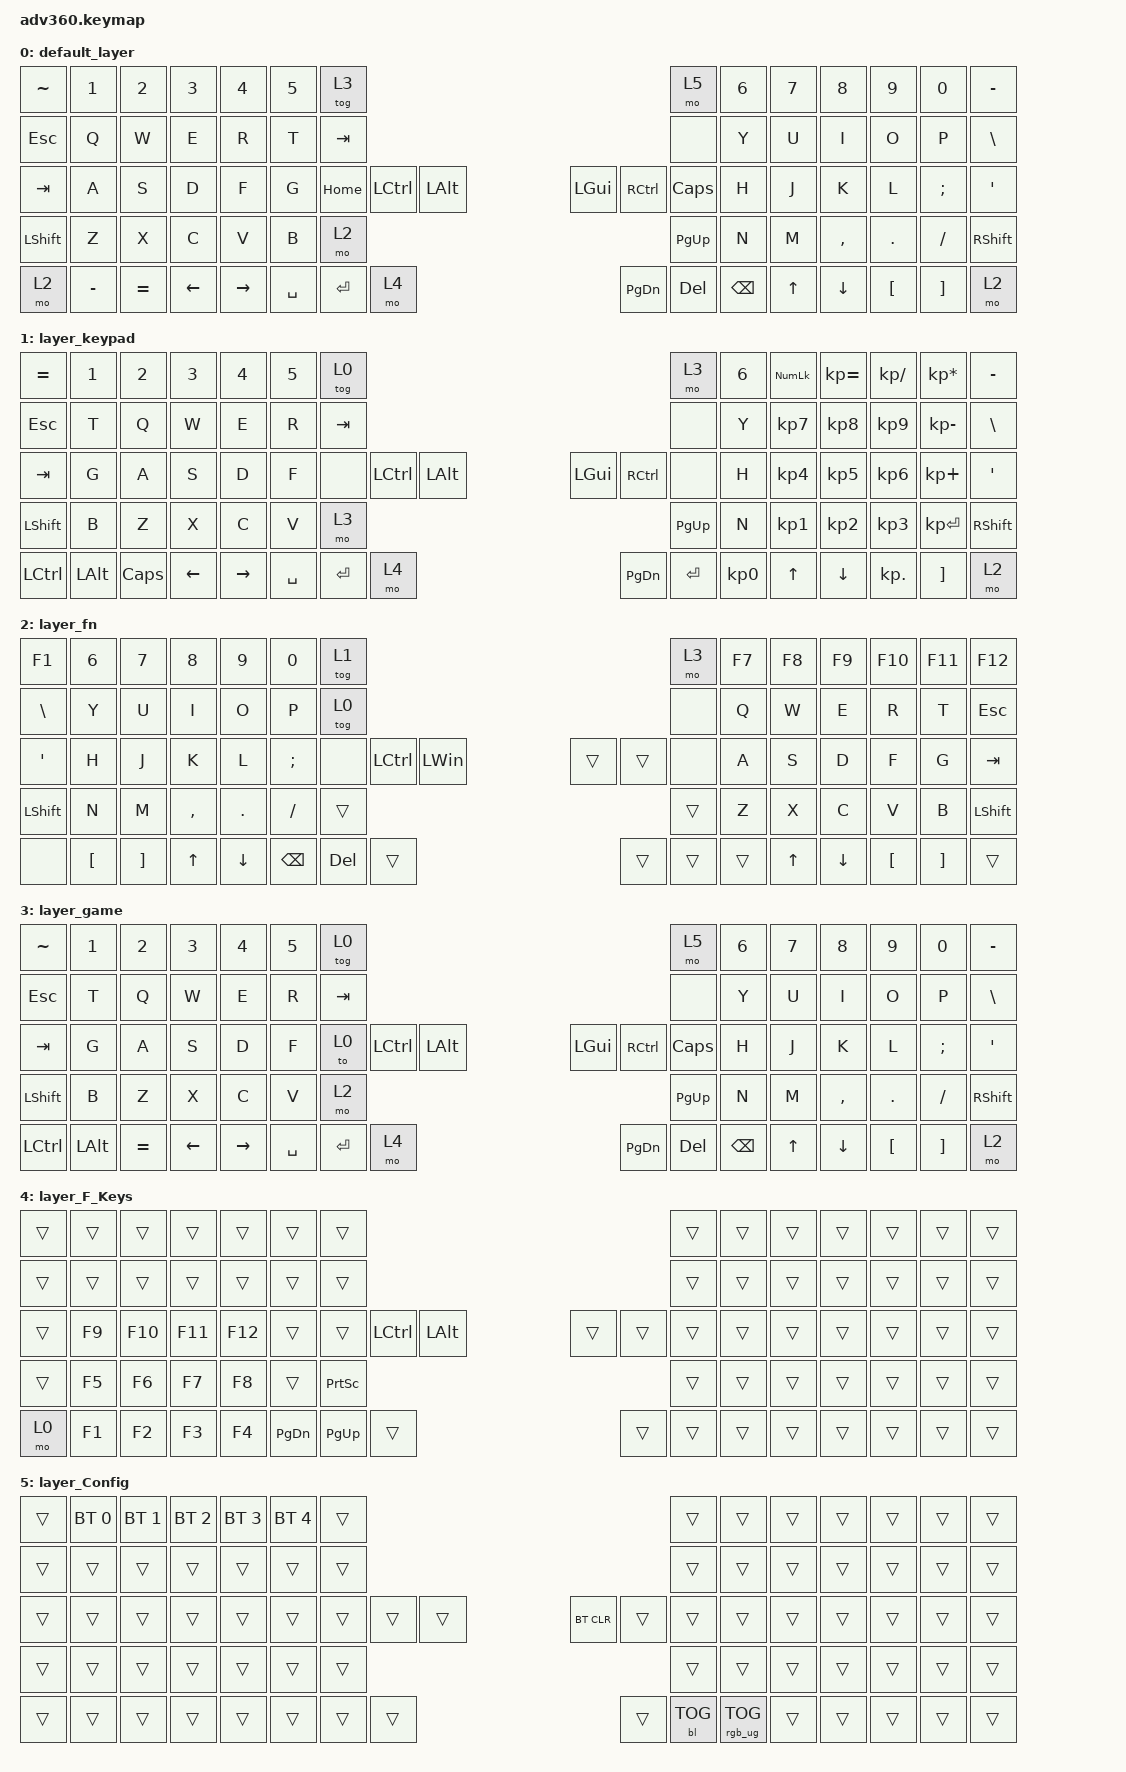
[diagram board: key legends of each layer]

/*
 * Copyright (c) 2020 The ZMK Contributors
 *
 * SPDX-License-Identifier: MIT
 */


/* THIS FILE WAS GENERATED!
 *
 * This file was generated automatically. You may or may not want to
 * edit it directly.
 */

#include <behaviors.dtsi>
#include <dt-bindings/zmk/keys.h>
#include <dt-bindings/zmk/bt.h>
#include <dt-bindings/zmk/backlight.h>
#include <dt-bindings/zmk/rgb.h>

/ {
  behaviors {
    #include "macros.dtsi"
    #include "version.dtsi"

    hm: homerow_mods {
        compatible = "zmk,behavior-hold-tap";
        label = "HOMEROW_MODS";
        #binding-cells = <2>;
        tapping-term-ms = <200>;
        quick_tap_ms = <175>;
        flavor = "tap-preferred";
        bindings = <&kp>, <&kp>;
    };
  };

    keymap {
        compatible = "zmk,keymap";


        default_layer {
            bindings = <
  &kp TILDE     &kp N1     &kp N2    &kp N3     &kp N4  &kp N5               &tog 3                                                                      &mo 5  &kp N6  &kp N7     &kp N8    &kp N9    &kp N0  &kp MINUS
 &kp ESCAPE      &kp Q      &kp W     &kp E      &kp R   &kp T              &kp TAB                                                                      &none   &kp Y   &kp U      &kp I     &kp O     &kp P   &kp BSLH
    &kp TAB      &kp A      &kp S     &kp D      &kp F   &kp G             &kp HOME  &kp LCTRL  &kp LALT                   &kp LGUI   &kp RCTRL   &kp CAPSLOCK   &kp H   &kp J      &kp K     &kp L  &kp SEMI    &kp SQT
  &kp LSHFT      &kp Z      &kp X     &kp C      &kp V   &kp B                                     &mo 2                  &kp PG_UP                              &kp N   &kp M  &kp COMMA   &kp DOT  &kp FSLH  &kp RSHFT
      &mo 2  &kp MINUS  &kp EQUAL  &kp LEFT  &kp RIGHT                    &kp SPACE  &kp ENTER     &mo 4                  &kp PG_DN  &kp DELETE  &kp BACKSPACE          &kp UP   &kp DOWN  &kp LBKT  &kp RBKT      &mo 2
            >;
        };

        layer_keypad {
            bindings = <
 &kp EQUAL        &kp N1    &kp N2    &kp N3     &kp N4  &kp N5               &tog 0                                                                 &mo 3  &kp N6  &kp KP_NUM  &kp KP_EQUAL  &kp KP_DIVIDE  &kp KP_MULTIPLY  &kp MINUS
   &kp ESC         &kp T     &kp Q     &kp W      &kp E   &kp R              &kp TAB                                                                 &none   &kp Y   &kp KP_N7     &kp KP_N8      &kp KP_N9     &kp KP_MINUS   &kp BSLH
   &kp TAB         &kp G     &kp A     &kp S      &kp D   &kp F                &none  &kp LCTRL  &kp LALT                   &kp LGUI  &kp RCTRL      &none   &kp H   &kp KP_N4     &kp KP_N5      &kp KP_N6      &kp KP_PLUS    &kp SQT
 &kp LSHFT         &kp B     &kp Z     &kp X      &kp C   &kp V                                     &mo 3                  &kp PG_UP                         &kp N   &kp KP_N1     &kp KP_N2      &kp KP_N3     &kp KP_ENTER  &kp RSHFT
 &kp LCTRL  &kp LEFT_ALT  &kp CAPS  &kp LEFT  &kp RIGHT                    &kp SPACE  &kp ENTER     &mo 4                  &kp PG_DN  &kp ENTER  &kp KP_N0              &kp UP      &kp DOWN     &kp KP_DOT         &kp RBKT      &mo 2
            >;
        };

        layer_fn {
            bindings = <
           &kp F1            &kp N6             &kp N7        &kp N8          &kp N9         &kp N0                   &tog 1                                                             &mo 3  &kp F7        &kp F8          &kp F9           &kp F10            &kp F11         &kp F12
    &kp BACKSLASH             &kp Y              &kp U         &kp I           &kp O          &kp P                   &tog 0                                                             &none   &kp Q         &kp W           &kp E             &kp R              &kp T         &kp ESC
 &kp SINGLE_QUOTE             &kp H              &kp J         &kp K           &kp L  &kp SEMICOLON                    &none   &kp LCTRL  &kp LEFT_WIN                  &trans  &trans   &none   &kp A         &kp S           &kp D             &kp F              &kp G         &kp TAB
   &kp LEFT_SHIFT             &kp N              &kp M     &kp COMMA      &kp PERIOD      &kp SLASH                                             &trans                  &trans                   &kp Z         &kp X           &kp C             &kp V              &kp B  &kp LEFT_SHIFT
            &none  &kp LEFT_BRACKET  &kp RIGHT_BRACKET  &kp UP_ARROW  &kp DOWN_ARROW                           &kp BACKSPACE  &kp DELETE        &trans                  &trans  &trans  &trans          &kp UP_ARROW  &kp DOWN_ARROW  &kp LEFT_BRACKET  &kp RIGHT_BRACKET          &trans
            >;
        };

        layer_game {
            bindings = <
  &kp TILDE        &kp N1     &kp N2    &kp N3     &kp N4  &kp N5               &tog 0                                                                      &mo 5  &kp N6  &kp N7     &kp N8    &kp N9    &kp N0  &kp MINUS
 &kp ESCAPE         &kp T      &kp Q     &kp W      &kp E   &kp R              &kp TAB                                                                      &none   &kp Y   &kp U      &kp I     &kp O     &kp P   &kp BSLH
    &kp TAB         &kp G      &kp A     &kp S      &kp D   &kp F                &to 0  &kp LCTRL  &kp LALT                   &kp LGUI   &kp RCTRL   &kp CAPSLOCK   &kp H   &kp J      &kp K     &kp L  &kp SEMI    &kp SQT
  &kp LSHFT         &kp B      &kp Z     &kp X      &kp C   &kp V                                     &mo 2                  &kp PG_UP                              &kp N   &kp M  &kp COMMA   &kp DOT  &kp FSLH  &kp RSHFT
  &kp LCTRL  &kp LEFT_ALT  &kp EQUAL  &kp LEFT  &kp RIGHT                    &kp SPACE  &kp ENTER     &mo 4                  &kp PG_DN  &kp DELETE  &kp BACKSPACE          &kp UP   &kp DOWN  &kp LBKT  &kp RBKT      &mo 2
            >;
        };

        layer_F_Keys {
            bindings = <
 &trans  &trans   &trans   &trans   &trans  &trans               &trans                                                           &trans  &trans  &trans  &trans  &trans  &trans  &trans
 &trans  &trans   &trans   &trans   &trans  &trans               &trans                                                           &trans  &trans  &trans  &trans  &trans  &trans  &trans
 &trans  &kp F9  &kp F10  &kp F11  &kp F12  &trans               &trans  &kp LCTRL  &kp LEFT_ALT                  &trans  &trans  &trans  &trans  &trans  &trans  &trans  &trans  &trans
 &trans  &kp F5   &kp F6   &kp F7   &kp F8  &trans                                     &kp PSCRN                  &trans                  &trans  &trans  &trans  &trans  &trans  &trans
  &mo 0  &kp F1   &kp F2   &kp F3   &kp F4                    &kp PG_DN  &kp PG_UP        &trans                  &trans  &trans  &trans          &trans  &trans  &trans  &trans  &trans
            >;
        };

        layer_Config {
            bindings = <
 &trans  &bt BT_SEL 0  &bt BT_SEL 1  &bt BT_SEL 2  &bt BT_SEL 3  &bt BT_SEL 4            &trans                                                                   &trans  &trans  &trans  &trans  &trans  &trans  &trans
 &trans        &trans        &trans        &trans        &trans        &trans            &trans                                                                   &trans  &trans  &trans  &trans  &trans  &trans  &trans
 &trans        &trans        &trans        &trans        &trans        &trans            &trans  &trans  &trans                  &bt BT_CLR      &trans           &trans  &trans  &trans  &trans  &trans  &trans  &trans
 &trans        &trans        &trans        &trans        &trans        &trans                            &trans                      &trans                               &trans  &trans  &trans  &trans  &trans  &trans
 &trans        &trans        &trans        &trans        &trans                          &trans  &trans  &trans                      &trans  &bl BL_TOG  &rgb_ug RGB_TOG          &trans  &trans  &trans  &trans  &trans
            >;
        };

    };
};
